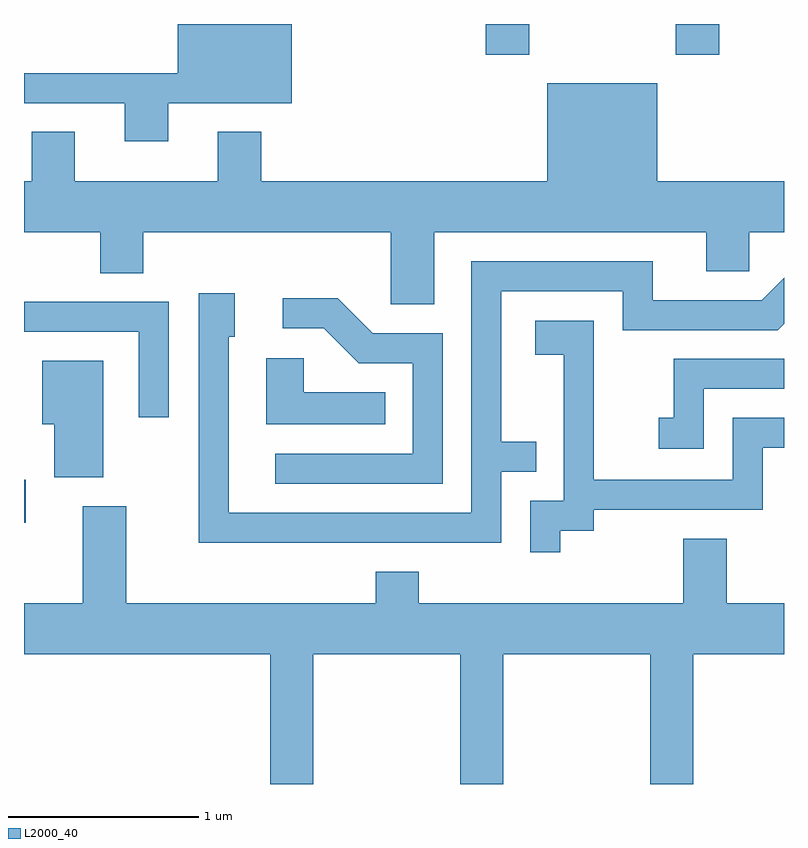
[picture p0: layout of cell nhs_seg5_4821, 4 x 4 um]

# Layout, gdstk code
import gdstk
lib = gdstk.Library(unit=1e-6, precision=1e-09)
def R(c, l, rs):  # rectangles x0, y0, x1, y1
    for r in rs: c.add(gdstk.rectangle(r[:2], r[2:], *l))
def P(c, l, *ps):  # polygons
    for p in ps: c.add(gdstk.Polygon(p, *l))
L2000_40 = (2000, 40)

nhs_seg5_4821 = lib.new_cell('nhs_seg5_4821')
R(nhs_seg5_4821, L2000_40, [(327.611,1497.446,327.619,1497.674), (330.041,1499.911,330.269,1500.072), (331.041,1499.911,331.269,1500.072)])
P(nhs_seg5_4821, L2000_40, [(328.369,1499.656),(329.019,1499.656),(329.019,1500.072),(328.421,1500.072),(328.421,1499.814),(327.611,1499.814),(327.611,1499.656),(328.141,1499.656),(328.141,1499.456),(328.369,1499.456)],
  [(329.769,1498.976),(331.201,1498.976),(331.201,1498.771),(331.429,1498.771),(331.429,1498.976),(331.611,1498.976),(331.611,1499.244),(330.944,1499.244),(330.944,1499.759),(330.366,1499.759),(330.366,1499.244),(328.859,1499.244),(328.859,1499.504),(328.631,1499.504),(328.631,1499.244),(327.879,1499.244),(327.879,1499.504),(327.651,1499.504),(327.651,1499.244),(327.611,1499.244),(327.611,1498.976),(328.011,1498.976),(328.011,1498.761),(328.239,1498.761),(328.239,1498.976),(329.541,1498.976),(329.541,1498.596),(329.769,1498.596)],
  [(330.124,1497.716),(330.308,1497.716),(330.308,1497.874),(330.124,1497.874),(330.124,1498.666),(330.761,1498.666),(330.761,1498.461),(331.577,1498.461),(331.611,1498.495),(331.611,1498.736),(331.494,1498.619),(330.919,1498.619),(330.919,1498.824),(329.966,1498.824),(329.966,1497.499),(328.689,1497.499),(328.689,1498.426),(328.719,1498.426),(328.719,1498.654),(328.531,1498.654),(328.531,1497.341),(330.124,1497.341)],
  [(329.814,1498.444),(329.447,1498.444),(329.262,1498.629),(328.973,1498.629),(328.973,1498.471),(329.189,1498.471),(329.374,1498.286),(329.656,1498.286),(329.656,1497.809),(328.933,1497.809),(328.933,1497.651),(329.814,1497.651)],
  [(328.374,1498.609),(327.611,1498.609),(327.611,1498.451),(328.216,1498.451),(328.216,1498.003),(328.374,1498.003)],
  [(330.434,1497.406),(330.609,1497.406),(330.609,1497.516),(331.499,1497.516),(331.499,1497.841),(331.611,1497.841),(331.611,1497.999),(331.341,1497.999),(331.341,1497.674),(330.609,1497.674),(330.609,1498.509),(330.301,1498.509),(330.301,1498.331),(330.451,1498.331),(330.451,1497.564),(330.276,1497.564),(330.276,1497.293),(330.434,1497.293)],
  [(329.513,1498.134),(329.084,1498.134),(329.084,1498.314),(328.886,1498.314),(328.886,1497.966),(329.513,1497.966)],
  [(331.189,1498.151),(331.611,1498.151),(331.611,1498.309),(331.031,1498.309),(331.031,1497.999),(330.953,1497.999),(330.953,1497.836),(331.189,1497.836)],
  [(328.029,1498.299),(327.706,1498.299),(327.706,1497.966),(327.771,1497.966),(327.771,1497.686),(328.029,1497.686)],
  [(329.134,1496.756),(329.906,1496.756),(329.906,1496.072),(330.134,1496.072),(330.134,1496.756),(330.906,1496.756),(330.906,1496.072),(331.134,1496.072),(331.134,1496.756),(331.611,1496.756),(331.611,1497.024),(331.309,1497.024),(331.309,1497.364),(331.081,1497.364),(331.081,1497.024),(329.689,1497.024),(329.689,1497.189),(329.461,1497.189),(329.461,1497.024),(328.149,1497.024),(328.149,1497.534),(327.921,1497.534),(327.921,1497.024),(327.611,1497.024),(327.611,1496.756),(328.906,1496.756),(328.906,1496.072),(329.134,1496.072)])

lib.write_gds('nhs_seg5_4821.gds')
